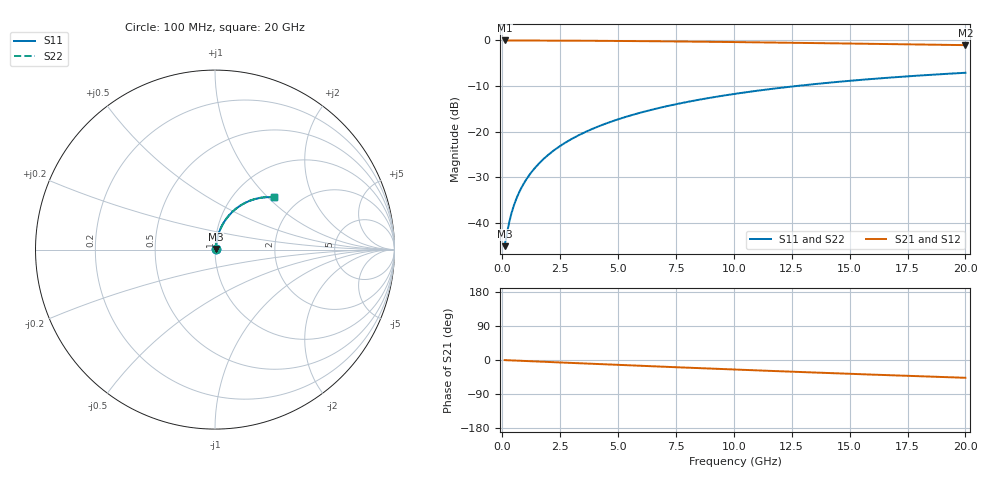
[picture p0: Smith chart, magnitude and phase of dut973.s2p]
! Touchstone file exported from HFSS 2026.1.0
!  File:  C:/ffzhzh/LocalFiles/Ansys_Project_Files/temp_train_TMRDL_973_1783159056_22436.aedt
!  Generated:  05:58:47 PM Jul  4, 2026
!  Design:  TMRDL
!  Project:  temp_train_TMRDL_973_1783159056_22436
! Variables:
!  h_bsmrdl = 2um
!  h_ox = 20um
!  h_rdl = 5um
!  h_sub = 80um
!  h_tmrdl = 2.98um
!  h_tsv = 80um
!  h_via = 3um
!  l_bsmrdl = 300um
!  l_sub = 1085.87um
!  l_tmrdl = 685.87um
!  m_sub = 200um
!  pitch = 44.17um
!  r_tsv = 6um
!  s_tmrdl = 10um
!  w_bsmrdl = 18um
!  w_sub = 500um
!  w_tmrdl = 18.15um
!  x_tsv_center1 = 694.945um
!  x_tsv_center2 = 1012.945um
!  x_tsv_center3 = 1716.965um
!  x_tsv_center4 = 2034.965um
!  x_tsv_center5 = 2738.985um
!  x_tsv_center6 = 3056.985um
# GHz S MA R 50.000000
! Terminal data exported
! Port[1] = TM_RDL1_1_T1
! Port[2] = TM_RDL1_1_T2
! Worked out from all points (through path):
!   200 points, 100 MHz to 20 GHz, reference 50 ohm
!   highest |S21| = -0.04 dB at 100 MHz (marker M1); lowest = -1.1 dB at 20 GHz (marker M2)
!   group delay of S21, straight-line fit = 6.53 ps
!   lowest |S11| = -45.1 dB at 100 MHz (marker M3), VSWR 1.01, Z = 50.5 + j0.303 ohm
!   |S11| at or under -10 dB: start of sweep to 12.75 GHz
!   |S22| runs from -45.1 to -7.1 dB; largest |S21 - S12| = 2.7e-15
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0.1  0.005541 32.8  0.9954 -0.3  0.9954 -0.3  0.00554 32.8
! Gamma 0 0 0 0
! Port Impedance 50 0 50 0
0.2  0.007661 51.0  0.9952 -0.5  0.9952 -0.5  0.007661 51.0
0.3  0.01018 60.2  0.995 -0.8  0.995 -0.8  0.01018 60.2
0.4  0.01281 65.5  0.9948 -1.1  0.9948 -1.1  0.01281 65.5
0.5  0.01547 68.8  0.9946 -1.3  0.9946 -1.3  0.01547 68.8
0.6  0.01813 71.1  0.9945 -1.6  0.9945 -1.6  0.01813 71.1
0.8  0.02348 74.1  0.9942 -2.1  0.9942 -2.1  0.02348 74.1
1.1  0.03153 76.5  0.9938 -2.9  0.9938 -2.9  0.03153 76.5
1.3  0.03693 77.4  0.9935 -3.4  0.9935 -3.4  0.03693 77.4
1.6  0.04506 78.2  0.993 -4.2  0.993 -4.2  0.04506 78.2
2.1  0.05863 78.5  0.9921 -5.5  0.9921 -5.5  0.05863 78.5
2.7  0.07489 78.1  0.9908 -7.0  0.9908 -7.0  0.07489 78.1
3.5  0.09643 76.9  0.9887 -9.0  0.9887 -9.0  0.09642 77.0
4.2  0.1151 75.6  0.9863 -10.8  0.9863 -10.8  0.1151 75.7
5  0.1361 74.0  0.9833 -12.8  0.9833 -12.8  0.1361 74.0
5.9  0.1593 72.0  0.9793 -15.1  0.9793 -15.1  0.1593 72.1
6.8  0.1819 70.0  0.9749 -17.3  0.9749 -17.3  0.1819 70.0
8.3  0.2184 66.5  0.9666 -21.0  0.9666 -21.0  0.2184 66.6
10.1  0.26 62.4  0.9554 -25.3  0.9554 -25.3  0.26 62.5
13.4  0.3292 55.0  0.9326 -32.9  0.9326 -32.9  0.3292 55.1
16.7  0.3893 48.0  0.9085 -40.1  0.9085 -40.1  0.3893 48.1
20  0.4404 41.3  0.8846 -46.9  0.8846 -46.9  0.4403 41.5
